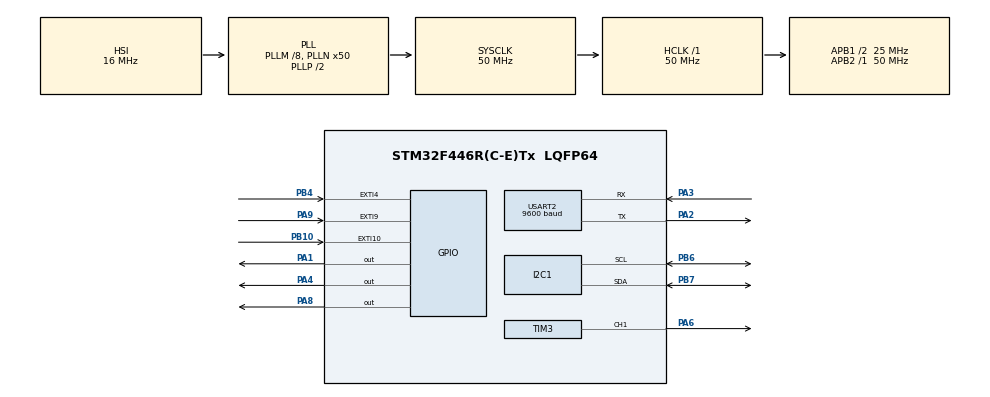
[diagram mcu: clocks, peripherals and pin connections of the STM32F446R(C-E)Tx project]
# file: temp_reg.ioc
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Mcu.Family=STM32F4
Mcu.Name=STM32F446R(C-E)Tx
Mcu.Package=LQFP64
NVIC.EXTI15_10_IRQn=true\:3\:0\:true\:false\:true\:true\:true\:true
NVIC.EXTI4_IRQn=true\:3\:0\:true\:false\:true\:true\:true\:true
NVIC.EXTI9_5_IRQn=true\:3\:0\:true\:false\:true\:true\:true\:true
NVIC.PriorityGroup=NVIC_PRIORITYGROUP_4
NVIC.TIM1_UP_TIM10_IRQn=true\:3\:0\:true\:false\:true\:true\:true\:true
PA1.Signal=GPIO_Output
PA13.Mode=Serial_Wire
PA13.Signal=SYS_JTMS-SWDIO
PA14.Mode=Serial_Wire
PA14.Signal=SYS_JTCK-SWCLK
PA2.Mode=Asynchronous
PA2.Signal=USART2_TX
PA3.Mode=Asynchronous
PA3.Signal=USART2_RX
PA4.Signal=GPIO_Output
PA6.Signal=S_TIM3_CH1
PA8.Signal=GPIO_Output
PA9.GPIO_ModeDefaultEXTI=GPIO_MODE_IT_FALLING
PA9.GPIO_PuPd=GPIO_PULLUP
PA9.Signal=GPXTI9
PB10.GPIO_ModeDefaultEXTI=GPIO_MODE_IT_FALLING
PB10.GPIO_PuPd=GPIO_PULLUP
PB10.Signal=GPXTI10
PB4.GPIO_ModeDefaultEXTI=GPIO_MODE_IT_FALLING
PB4.GPIO_PuPd=GPIO_PULLUP
PB4.Signal=GPXTI4
PB6.Mode=I2C
PB6.Signal=I2C1_SCL
PB7.Mode=I2C
PB7.Signal=I2C1_SDA
ProjectManager.HeapSize=0x200
ProjectManager.StackSize=0x400
ProjectManager.TargetToolchain=STM32CubeIDE
RCC.AHBFreq_Value=50000000
RCC.APB1CLKDivider=RCC_HCLK_DIV2
RCC.APB1Freq_Value=25000000
RCC.APB1TimFreq_Value=50000000
RCC.APB2Freq_Value=50000000
RCC.APB2TimFreq_Value=50000000
RCC.CortexFreq_Value=50000000
RCC.HCLKFreq_Value=50000000
RCC.PLLM=8
RCC.PLLN=50
RCC.SYSCLKFreq_VALUE=50000000
RCC.SYSCLKSource=RCC_SYSCLKSOURCE_PLLCLK
RCC.USBFreq_Value=50000000
RCC.VCOOutputFreq_Value=100000000
SH.S_TIM3_CH1.0=TIM3_CH1,PWM Generation1 CH1
TIM10.Period=9
TIM10.Prescaler=15999
TIM3.Channel-PWM\ Generation1\ CH1=TIM_CHANNEL_1
TIM3.Period=999
TIM3.Prescaler=49
TIM3.Pulse-PWM\ Generation1\ CH1=500
TIM6.Prescaler=49
USART2.BaudRate=9600
USART2.VirtualMode=VM_ASYNC
VP_TIM10_VS_ClockSourceINT.Mode=Enable_Timer
VP_TIM6_VS_ClockSourceINT.Mode=Enable_Timer
board=custom

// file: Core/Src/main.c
/* USER CODE BEGIN Header */
/**
  ******************************************************************************
  * @file           : main.c
  * @brief          : Main program body
  ******************************************************************************
  * @attention
  *
  * Copyright (c) 2024 STMicroelectronics.
  * All rights reserved.
  *
  * This software is licensed under terms that can be found in the LICENSE file
  * in the root directory of this software component.
  * If no LICENSE file comes with this software, it is provided AS-IS.
  *
  ******************************************************************************
  */
/* USER CODE END Header */
#include "main.h"
#include "i2c.h"
#include "tim.h"
#include "usart.h"
#include "gpio.h"

/* USER CODE BEGIN Includes */
#include <stdio.h>
#include "stdio.h"
#include "pid.h"

/* USER CODE END Includes */

/* USER CODE BEGIN PV */
static uint16_t global_gpio_pin = 0;
static uint16_t clear = 0;

/* USER CODE END PV */

void SystemClock_Config(void);

/* USER CODE BEGIN 0 */
void delay (uint32_t us)   //Mikrosekunde
{
    __HAL_TIM_SET_COUNTER(&htim6,0);
    while ((__HAL_TIM_GET_COUNTER(&htim6))<us);
}

uint8_t Temp_byte1, Temp_byte2;
uint16_t SUM, TEMP;
float Temperature = 0;
uint8_t Presence = 0;

int set = 0;
PID_TypeDef TPID;
double Temp, PIDOut, TempSetpoint = 1;
uint8_t P, I, D;
uint8_t Menu = 2;
uint8_t value = 0;

/*************************** LCD ***************************/
#define SLAVE_ADDRESS_LCD 0x4E

void lcd_send_cmd(char cmd)
{
    char upper_bits, lower_bits;
    uint8_t data[4];

    upper_bits = cmd & 0xF0;         // Get the upper 4 bits
    lower_bits = (cmd << 4) & 0xF0; // Shift the lower 4 bits to the upper position

    data[0] = upper_bits | 0x0C;    // Set EN=1 and RS=0
    data[1] = upper_bits | 0x08;    // Set EN=0 and RS=0
    data[2] = lower_bits | 0x0C;    // Set EN=1 and RS=0
    data[3] = lower_bits | 0x08;    // Set EN=0 and RS=0

    HAL_I2C_Master_Transmit(&hi2c1, SLAVE_ADDRESS_LCD, data, 4, 100); // Send data via I2C
}

void lcd_send_data(char data)
{
    char upper_bits, lower_bits;
    uint8_t values[4];

    upper_bits = data & 0xF0;         // Get the upper 4 bits
    lower_bits = (data << 4) & 0xF0; // Shift the lower 4 bits to the upper position

    values[0] = upper_bits | 0x0D;   // Set EN=1 and RS=1
    values[1] = upper_bits | 0x09;   // Set EN=0 and RS=1
    values[2] = lower_bits | 0x0D;   // Set EN=1 and RS=1
    values[3] = lower_bits | 0x09;   // Set EN=0 and RS=1

    HAL_I2C_Master_Transmit(&hi2c1, SLAVE_ADDRESS_LCD, values, 4, 100); // Send data via I2C
}

void lcd_clear (void)
{
	lcd_send_cmd (0x80);		// set cursor to the first position in the first line
	for (int i=0; i<70; i++)
	{
		lcd_send_data (' ');
	}
}

void lcd_put_cur(int row, int col)
{
    switch (row)
    {
        case 0:
            col |= 0x80;		// set cursor to the first position in the first line and move it for col spaces
            break;
        case 1:
            col |= 0xC0;		// set cursor to the first position in the second line and move it for col spaces
            break;
    }

    lcd_send_cmd (col);
}

void lcd_init (void)
{
	// 4 bit initialisation
	HAL_Delay(50);  // wait for >40ms
	lcd_send_cmd (0x30);
	HAL_Delay(5);  // wait for >4.1ms
	lcd_send_cmd (0x30);
	HAL_Delay(1);  // wait for >100us
	lcd_send_cmd (0x30);
	HAL_Delay(10);
	lcd_send_cmd (0x20);  // 4bit mode
	HAL_Delay(10);

  // dislay initialisation
	lcd_send_cmd (0x28); // Function set --> DL=0 (4 bit mode), N = 1 (2 line display) F = 0 (5x8 characters)
	HAL_Delay(1);
	lcd_send_cmd (0x08); //Display on/off control --> D=0,C=0, B=0  ---> display off
	HAL_Delay(1);
	lcd_send_cmd (0x01);  // clear display
	HAL_Delay(1);
	HAL_Delay(1);
	lcd_send_cmd (0x06); //Entry mode set --> I/D = 1 (increment cursor) & S = 0 (no shift)
	HAL_Delay(1);
	lcd_send_cmd (0x0C); //Display on/off control --> D = 1, C and B = 0. (Cursor and blink, last two bits)
}

void lcd_send_string (char *str)
{
	while (*str) lcd_send_data (*str++);
}

void Display_Temp(float Temp){
	char str[20] = {0};
	lcd_put_cur(0,0);

	sprintf(str, "TEMP: %.2f", Temp);
	lcd_send_string(str);
	lcd_send_data('C');
}
/*************************** DS18B20 ***************************/

void Set_Pin_Output(GPIO_TypeDef *GPIOx, uint16_t GPIO_Pin){
	GPIO_InitTypeDef GPIO_InitStruct = {0}; 	// Declare and initialize a structure of type GPIO_InitTypeDef to configure the pin properties.
	GPIO_InitStruct.Pin = GPIO_Pin;
	GPIO_InitStruct.Mode = GPIO_MODE_OUTPUT_PP;
	GPIO_InitStruct.Speed = GPIO_SPEED_FREQ_LOW;     // Set the speed of the pin to low frequency. This controls the slew rate (how fast the pin changes state).
   													// Lower speed reduces power consumption and electromagnetic interference.
	HAL_GPIO_Init(GPIOx, &GPIO_InitStruct);		// Call the HAL (Hardware Abstraction Layer) function to apply the configuration to the selected GPIO port and pin.
}

void Set_Pin_Input(GPIO_TypeDef *GPIOx, uint16_t GPIO_Pin){
	GPIO_InitTypeDef GPIO_InitStruct = {0};
	GPIO_InitStruct.Pin = GPIO_Pin;
	GPIO_InitStruct.Mode = GPIO_MODE_INPUT;
	GPIO_InitStruct.Pull = GPIO_NOPULL;
	HAL_GPIO_Init(GPIOx, &GPIO_InitStruct);
}

#define DS18B20_PORT GPIOA
#define DS18B20_PIN GPIO_PIN_1

uint8_t DS18B20_Start (void)
{
	uint8_t Response = 0;
	Set_Pin_Output(DS18B20_PORT, DS18B20_PIN);   // set the pin as output
	HAL_GPIO_WritePin (DS18B20_PORT, DS18B20_PIN, 0);  // pull the pin low
	delay (480);   // delay according to datasheet

	Set_Pin_Input(DS18B20_PORT, DS18B20_PIN);    // set the pin as input
    delay (80);    // delay according to datasheet
    if (!(HAL_GPIO_ReadPin (DS18B20_PORT, DS18B20_PIN))) Response = 1;    // if the pin is low i.e the presence pulse is detected
    else Response = -1;

    delay (400); // 480 us delay totally.

    return Response;
}

void DS18B20_Write (uint8_t data)
{
	Set_Pin_Output(DS18B20_PORT, DS18B20_PIN);  // set as output

	for (int i=0; i<8; i++)
	{
		if ((data & (1<<i))!=0)  // if the bit is high
		{
			// write 1
			Set_Pin_Output(DS18B20_PORT, DS18B20_PIN);  // set as output
			HAL_GPIO_WritePin (DS18B20_PORT, DS18B20_PIN, 0);  // pull the pin LOW
			delay (1);  // wait for 1 us

			Set_Pin_Input(DS18B20_PORT, DS18B20_PIN);  // set as input
			delay (50);  // wait for 60 us
		}

		else  // if the bit is low
		{
			// write 0
			Set_Pin_Output(DS18B20_PORT, DS18B20_PIN);
			HAL_GPIO_WritePin (DS18B20_PORT, DS18B20_PIN, 0);  // pull the pin LOW
			delay (50);  // wait for 60 us

			Set_Pin_Input(DS18B20_PORT, DS18B20_PIN);
		}
	}
}

uint8_t DS18B20_Read (void)
{
	uint8_t value=0;
	Set_Pin_Input(DS18B20_PORT, DS18B20_PIN);

	for (int i=0;i<8;i++)
	{
		Set_Pin_Output(DS18B20_PORT, DS18B20_PIN);   // set as output
		HAL_GPIO_WritePin (GPIOA, GPIO_PIN_1, 0);  // pull the data pin LOW
		delay (2);  // wait for 2 us
		Set_Pin_Input(DS18B20_PORT, DS18B20_PIN);  // set as input
		if (HAL_GPIO_ReadPin (GPIOA, GPIO_PIN_1))  // if the pin is HIGH
		{
			value |= 1<<i;  // read = 1
		}
		delay (60);  // wait for 60 us
	}
	return value;
}
/* USER CODE END 0 */

int main(void)
{

  /* MCU Configuration--------------------------------------------------------*/

  /* Reset of all peripherals, Initializes the Flash interface and the Systick. */
  HAL_Init();

  /* Configure the system clock */
  SystemClock_Config();

  /* Initialize all configured peripherals */
  MX_GPIO_Init();
  MX_I2C1_Init();
  MX_TIM6_Init();
  MX_TIM3_Init();
  MX_USART2_UART_Init();
  MX_TIM10_Init();
  /* USER CODE BEGIN 2 */

  HAL_TIM_Base_Start(&htim6);

  lcd_init();
  lcd_send_string("INITIALISING");
  HAL_Delay(2000);
  lcd_clear();

  P = 20;
  I = 20;
  D = 0;

  PID(&TPID, &Temp, &PIDOut, &TempSetpoint, P, I, D, _PID_P_ON_E, _PID_CD_DIRECT);

  PID_SetMode(&TPID, _PID_MODE_AUTOMATIC);
  PID_SetSampleTime(&TPID, 500);
  PID_SetOutputLimits(&TPID, 1, 100);

  /* USER CODE END 2 */

  /* Infinite loop */
  /* USER CODE BEGIN WHILE */
  while (1)
  {

	  if(Menu%2 != 0){
		  clear = 1;

		  if(set < 0){set = 0;}
		  if(set > 4){set = 4;}

		  char str[20] = {0};
		  lcd_put_cur(0,0);

		  switch(set){

		  case 0:
			  HAL_TIM_PWM_Stop(&htim3,  TIM_CHANNEL_1);
			  TempSetpoint = 1;
			  PID(&TPID, &Temp, &PIDOut, &TempSetpoint, P, I, D, _PID_P_ON_E, _PID_CD_DIRECT);
			  PID_SetMode(&TPID, _PID_MODE_AUTOMATIC);
			  PID_SetSampleTime(&TPID, 200);
			  PID_SetOutputLimits(&TPID, 1, 100);

			  sprintf(str, "Temp not set    ");
			  lcd_send_string(str);
			  lcd_put_cur(1,0);
			  sprintf(str, "                ");
			  lcd_send_string(str);
			  break;
		  case 1:
			  HAL_TIM_PWM_Start(&htim3,  TIM_CHANNEL_1);
			  TempSetpoint = 40;
			  PID(&TPID, &Temp, &PIDOut, &TempSetpoint, P, I, D, _PID_P_ON_E, _PID_CD_DIRECT);
			  PID_SetMode(&TPID, _PID_MODE_AUTOMATIC);
			  PID_SetSampleTime(&TPID, 200);
			  PID_SetOutputLimits(&TPID, 1, 100);

			  sprintf(str, "Set temp PLA    ");
			  lcd_send_string(str);
			  lcd_put_cur(1,0);
			  sprintf(str, "Heating to 40C  ");
			  lcd_send_string(str);
			  break;
		  case 2:
			  HAL_TIM_PWM_Start(&htim3,  TIM_CHANNEL_1);
			  TempSetpoint = 48;
			  PID(&TPID, &Temp, &PIDOut, &TempSetpoint, P, I, D, _PID_P_ON_E, _PID_CD_DIRECT);
			  PID_SetMode(&TPID, _PID_MODE_AUTOMATIC);
			  PID_SetSampleTime(&TPID, 200);
			  PID_SetOutputLimits(&TPID, 1, 100);

			  sprintf(str, "Set temp PETG   ");
			  lcd_send_string(str);
			  lcd_put_cur(1,0);
			  sprintf(str, "Heating to 48C  ");
			  lcd_send_string(str);
			  break;
		  case 3:
			  HAL_TIM_PWM_Start(&htim3,  TIM_CHANNEL_1);
			  TempSetpoint = 55;
			  PID(&TPID, &Temp, &PIDOut, &TempSetpoint, P, I, D, _PID_P_ON_E, _PID_CD_DIRECT);
			  PID_SetMode(&TPID, _PID_MODE_AUTOMATIC);
			  PID_SetSampleTime(&TPID, 200);
			  PID_SetOutputLimits(&TPID, 1, 100);

			  sprintf(str, "Set temp ASA    ");
			  lcd_send_string(str);
			  lcd_put_cur(1,0);
			  sprintf(str, "Heating to 55C  ");
			  lcd_send_string(str);
			  break;
		  case 4:
			  HAL_TIM_PWM_Start(&htim3,  TIM_CHANNEL_1);
			  TempSetpoint = 50;
			  PID(&TPID, &Temp, &PIDOut, &TempSetpoint, P, I, D, _PID_P_ON_E, _PID_CD_DIRECT);
			  PID_SetMode(&TPID, _PID_MODE_AUTOMATIC);
			  PID_SetSampleTime(&TPID, 200);
			  PID_SetOutputLimits(&TPID, 1, 100);

			  sprintf(str, "Set temp ABS    ");
			  lcd_send_string(str);
			  lcd_put_cur(1,0);
			  sprintf(str, "Heating to 58C  ");
			  lcd_send_string(str);
			  break;

		  }

	  }else{

		  if(clear == 1){
			  char str[20] = {0};
			  lcd_put_cur(0,0);
			  sprintf(str, "                ");
			  lcd_send_string(str);
			  clear = 0;
		  }

	     Presence = DS18B20_Start ();
	     DS18B20_Write (0xCC);  // skip ROM
	     DS18B20_Write (0x44);  // convert t

	     Presence = DS18B20_Start ();
	     DS18B20_Write (0xCC);  // skip ROM
	     DS18B20_Write (0xBE);  // Read Scratch-pad

	     Temp_byte1 = DS18B20_Read();
	     Temp_byte2 = DS18B20_Read();
	     TEMP = ((Temp_byte2<<8))|Temp_byte1;
	     Temperature = (float)TEMP/16.0;  // resolution is 0.0625

	     Temp = Temperature;
	     PID_Compute(&TPID);
	     __HAL_TIM_SET_COMPARE(&htim3, TIM_CHANNEL_1, PIDOut);
	     Display_Temp(Temperature);
	     HAL_Delay(300);
	  }

    /* USER CODE END WHILE */

  }
}

void SystemClock_Config(void)
{
  RCC_OscInitTypeDef RCC_OscInitStruct = {0};
  RCC_ClkInitTypeDef RCC_ClkInitStruct = {0};

  /** Configure the main internal regulator output voltage
  */
  __HAL_RCC_PWR_CLK_ENABLE();
  __HAL_PWR_VOLTAGESCALING_CONFIG(PWR_REGULATOR_VOLTAGE_SCALE3);

  /** Initializes the RCC Oscillators according to the specified parameters
  * in the RCC_OscInitTypeDef structure.
  */
  RCC_OscInitStruct.OscillatorType = RCC_OSCILLATORTYPE_HSI;
  RCC_OscInitStruct.HSIState = RCC_HSI_ON;
  RCC_OscInitStruct.HSICalibrationValue = RCC_HSICALIBRATION_DEFAULT;
  RCC_OscInitStruct.PLL.PLLState = RCC_PLL_ON;
  RCC_OscInitStruct.PLL.PLLSource = RCC_PLLSOURCE_HSI;
  RCC_OscInitStruct.PLL.PLLM = 8;
  RCC_OscInitStruct.PLL.PLLN = 50;
  RCC_OscInitStruct.PLL.PLLP = RCC_PLLP_DIV2;
  RCC_OscInitStruct.PLL.PLLQ = 2;
  RCC_OscInitStruct.PLL.PLLR = 2;
  if (HAL_RCC_OscConfig(&RCC_OscInitStruct) != HAL_OK)
  {
    Error_Handler();
  }

  /** Initializes the CPU, AHB and APB buses clocks
  */
  RCC_ClkInitStruct.ClockType = RCC_CLOCKTYPE_HCLK|RCC_CLOCKTYPE_SYSCLK
                              |RCC_CLOCKTYPE_PCLK1|RCC_CLOCKTYPE_PCLK2;
  RCC_ClkInitStruct.SYSCLKSource = RCC_SYSCLKSOURCE_PLLCLK;
  RCC_ClkInitStruct.AHBCLKDivider = RCC_SYSCLK_DIV1;
  RCC_ClkInitStruct.APB1CLKDivider = RCC_HCLK_DIV2;
  RCC_ClkInitStruct.APB2CLKDivider = RCC_HCLK_DIV1;

  if (HAL_RCC_ClockConfig(&RCC_ClkInitStruct, FLASH_LATENCY_1) != HAL_OK)
  {
    Error_Handler();
  }
}

/* USER CODE BEGIN 4 */
// Callback funkcija koja se poziva kada se dogodi EXTI (vanjski prekid) na nekom GPIO pinu
void HAL_GPIO_EXTI_Callback(uint16_t GPIO_Pin) {
    global_gpio_pin = GPIO_Pin;  // Pohranjujemo broj pina koji je izazvao prekid

    if(global_gpio_pin == GPIO_PIN_4) {  // Ako je prekid generiran na pinu 4
        __HAL_TIM_CLEAR_IT(&htim10, TIM_IT_UPDATE);  // Resetiramo zastavicu prekida tajmera 10
        HAL_TIM_Base_Start_IT(&htim10);  // Pokrećemo tajmer 10 u režimu prekida
    }
    else if(global_gpio_pin == GPIO_PIN_10) {  // Ako je prekid generiran na pinu 10
        __HAL_TIM_CLEAR_IT(&htim10, TIM_IT_UPDATE);  // Resetiramo zastavicu prekida tajmera 10
        HAL_TIM_Base_Start_IT(&htim10);  // Pokrećemo tajmer 10 u režimu prekida
    }
    else if(global_gpio_pin == GPIO_PIN_9) {  // Ako je prekid generiran na pinu 9
        __HAL_TIM_CLEAR_IT(&htim10, TIM_IT_UPDATE);  // Resetiramo zastavicu prekida tajmera 10
        HAL_TIM_Base_Start_IT(&htim10);  // Pokrećemo tajmer 10 u režimu prekida
    }
}

// Callback funkcija koja se poziva kada tajmer generira prekid (kada istekne zadano vrijeme)
void HAL_TIM_PeriodElapsedCallback(TIM_HandleTypeDef *htim) {
    if (htim->Instance == TIM10) {  // Provjeravamo je li prekid generirao tajmer 10
        if (HAL_GPIO_ReadPin(GPIOB, global_gpio_pin) == GPIO_PIN_RESET) {  // Provjera je li pritisnut gumb (logička nula)
            if (global_gpio_pin == GPIO_PIN_4) {  // Ako je gumb na pinu 4
                Menu++;  // Povećavamo varijablu Menu
            }

            if (Menu % 2 != 0) {  // Ako je Menu neparan broj (uključivanje neke opcije)
                if (global_gpio_pin == GPIO_PIN_10) {
                    set++;  // Povećavamo vrijednost varijable set
                }
                else if (global_gpio_pin == GPIO_PIN_9) {
                    set--;  // Smanjujemo vrijednost varijable set
                }
            }
        }
        HAL_TIM_Base_Stop_IT(&htim10);  // Zaustavljamo tajmer nakon što je obrada prekida završena
    }
}

/* USER CODE END 4 */

void Error_Handler(void)
{
  __disable_irq();
  while (1)
  {
  }
}
